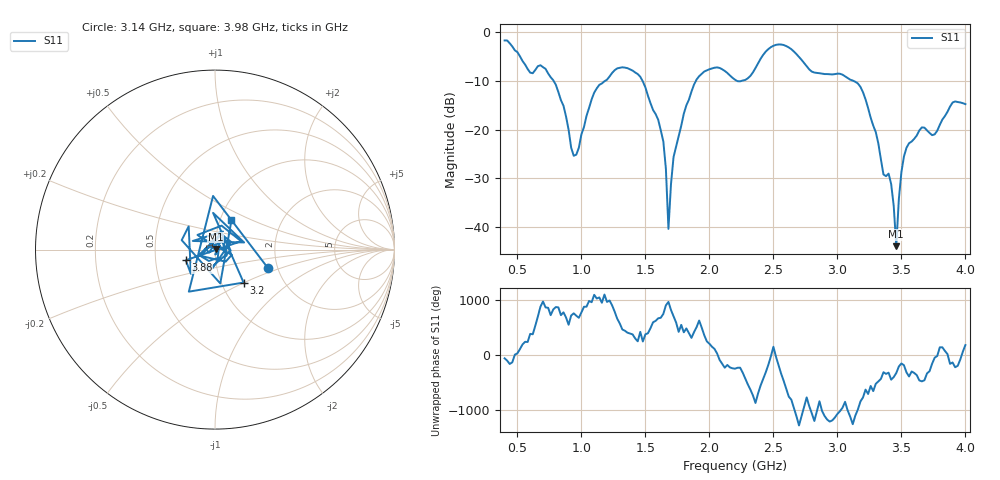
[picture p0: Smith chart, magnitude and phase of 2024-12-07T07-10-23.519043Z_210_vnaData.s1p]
!Created with skrf (http://scikit-rf.org).
# Hz S RI R 50.0
!freq ReS11 ImS11
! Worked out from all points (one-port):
!   181 points, 400 MHz to 4 GHz, reference 50 ohm
!   lowest |S11| = -43.9 dB at 3.46 GHz (marker M1), VSWR 1.01, Z = 50.5 + j0.359 ohm
!   |S11| at or under -10 dB: 784.1 MHz to 1.182 GHz (397.7 MHz wide, 40.5 % of centre); 1.479 GHz to 1.894 GHz (415 MHz wide, 24.6 % of centre); 3.129 GHz to end of sweep (the widest 3 of 4)
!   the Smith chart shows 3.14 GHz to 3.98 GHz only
!   S11 on the Smith chart (normalised r, x): 3.14 GHz: 1.78, -0.40; 3.2 GHz: 1.27, -0.50; 3.88 GHz: 0.72, -0.09; 3.98 GHz: 1.13, +0.38
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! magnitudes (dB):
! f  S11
! 400 MHz  -1.6
! 600 MHz  -8.3
! 720 MHz  -7.5
! 860 MHz  -15.1
! 960 MHz  -25.1
! 1.1 GHz  -12.4
! 1.3 GHz  -7.3
! 1.46 GHz  -9.1
! 1.6 GHz  -17.9
! 1.66 GHz  -28.0
! 1.68 GHz  -40.4
! 1.72 GHz  -25.6
! 1.76 GHz  -21.2
! 1.92 GHz  -9.0
! 2.2 GHz  -9.7
! 2.5 GHz  -2.7
! 2.66 GHz  -3.9
! 3.1 GHz  -9.7
! 3.14 GHz  -10.1
! 3.2 GHz  -12.3
! 3.36 GHz  -29.2
! 3.42 GHz  -31.1
! 3.46 GHz  -43.9
! 3.5 GHz  -28.7
! 3.56 GHz  -22.8
! 3.88 GHz  -15.2
! 3.98 GHz  -14.5
! 4 GHz  -14.7
